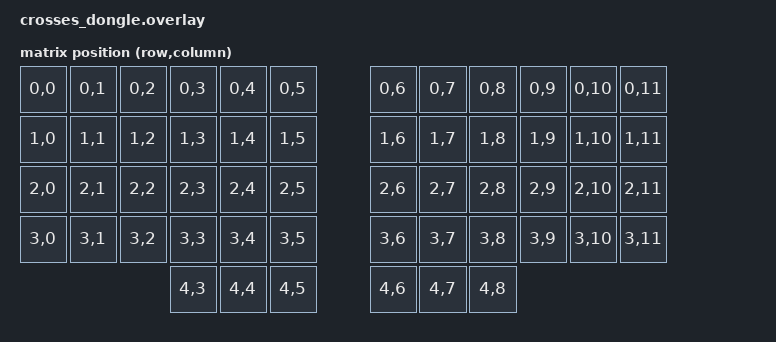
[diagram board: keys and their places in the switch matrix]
/*
 * Dongle-central variant for the Crosses 54 keymap.
 */

#include <dt-bindings/zmk/matrix_transform.h>
#include <input/processors.dtsi>
#include <input/processors/report_rate_limit.dtsi>
#include <behaviors/rate_limit.dtsi>

#include "fifty_four_layout.dtsi"

&gggw_crosses_54_layout {
    transform = <&default_transform>;
};

/ {
    chosen {
        zmk,kscan = &mock_kscan;
        zmk,physical-layout = &gggw_crosses_54_layout;
    };

    pwmleds {
        compatible = "pwm-leds";

        disp_bl: pwm_led_1 {
            pwms = <&pwm1 0 PWM_MSEC(1) PWM_POLARITY_NORMAL>;
        };
    };

    mipi_dbi {
        compatible = "zephyr,mipi-dbi-spi";
        spi-dev = <&spi3>;
        dc-gpios = <&xiao_d 7 GPIO_ACTIVE_HIGH>;
        reset-gpios = <&xiao_d 3 GPIO_ACTIVE_LOW>;
        write-only;
        #address-cells = <1>;
        #size-cells = <0>;

        st7789: st7789v@0 {
            compatible = "sitronix,st7789v";
            mipi-max-frequency = <30000000>;
            mipi-mode = "MIPI_DBI_MODE_SPI_4WIRE";
            reg = <0>;
            width = <240>;
            height = <280>;
            x-offset = <0>;
            y-offset = <20>;
            vcom = <0x19>;
            gctrl = <0x35>;
            vrhs = <0x12>;
            vdvs = <0x20>;
            mdac = <0x00>;
            gamma = <0x01>;
            colmod = <0x05>;
            lcm = <0x2c>;
            porch-param = [ 0c 0c 00 33 33 ];
            cmd2en-param = [ 5a 69 02 01 ];
            pwctrl1-param = [ a4 a1 ];
            pvgam-param = [ d0 04 0d 11 13 2b 3f 54 4c 18 0d 0b 1f 23 ];
            nvgam-param = [ d0 04 0c 11 13 2c 3f 44 51 2f 1f 1f 20 23 ];
            ram-param = [ 00 f0 ];
            rgb-param = [ cd 08 14 ];
        };
    };

    default_transform: keymap_transform0 {
        compatible = "zmk,matrix-transform";
        columns = <12>;
        rows = <5>;
        map = <
            RC(0,0) RC(0,1) RC(0,2) RC(0,3) RC(0,4) RC(0,5)       RC(0,6) RC(0,7) RC(0,8) RC(0,9) RC(0,10) RC(0,11)
            RC(1,0) RC(1,1) RC(1,2) RC(1,3) RC(1,4) RC(1,5)       RC(1,6) RC(1,7) RC(1,8) RC(1,9) RC(1,10) RC(1,11)
            RC(2,0) RC(2,1) RC(2,2) RC(2,3) RC(2,4) RC(2,5)       RC(2,6) RC(2,7) RC(2,8) RC(2,9) RC(2,10) RC(2,11)
            RC(3,0) RC(3,1) RC(3,2) RC(3,3) RC(3,4) RC(3,5)       RC(3,6) RC(3,7) RC(3,8) RC(3,9) RC(3,10) RC(3,11)
                                    RC(4,3) RC(4,4) RC(4,5)       RC(4,6) RC(4,7) RC(4,8)
        >;
    };

    mock_kscan: mock_kscan_0 {
        compatible = "zmk,kscan-mock";
        columns = <0>;
        rows = <0>;
        events = <0>;
    };

    behaviors {
        rrl {
            #binding-cells = <1>;
            values-ms = <8 6 4 2>;
        };
    };

    split_inputs {
        #address-cells = <1>;
        #size-cells = <0>;

        trackball_peripheral_split: trackball_peripheral_split@0 {
            compatible = "zmk,input-split";
            reg = <0>;
        };

        trackball_central_split: trackball_central_split@1 {
            compatible = "zmk,input-split";
            reg = <1>;
        };
    };

    trackball_peripheral_listener: trackball_peripheral_listener {
        compatible = "zmk,input-listener";
        status = "disabled";
        device = <&trackball_peripheral_split>;
    };

    trackball_central_listener: trackball_central_listener {
        compatible = "zmk,input-listener";
        status = "disabled";
        device = <&trackball_central_split>;
    };
};

&spi2 {
    status = "disabled";
};

&pinctrl {
    spi3_default: spi3_default {
        group1 {
            psels = <NRF_PSEL(SPIM_SCK, 1, 13)>,
                <NRF_PSEL(SPIM_MOSI, 1, 15)>,
                <NRF_PSEL(SPIM_MISO, 1, 10)>;
        };
    };

    spi3_sleep: spi3_sleep {
        group1 {
            psels = <NRF_PSEL(SPIM_SCK, 1, 13)>,
                <NRF_PSEL(SPIM_MOSI, 1, 15)>,
                <NRF_PSEL(SPIM_MISO, 1, 10)>;
            low-power-enable;
        };
    };

    pwm1_default: pwm1_default {
        group1 {
            psels = <NRF_PSEL(PWM_OUT0, 1, 11)>;
            nordic,invert;
        };
    };

    pwm1_sleep: pwm1_sleep {
        group1 {
            psels = <NRF_PSEL(PWM_OUT0, 1, 11)>;
            low-power-enable;
        };
    };
};

disp_spi: &spi3 {
    status = "okay";
    pinctrl-0 = <&spi3_default>;
    pinctrl-1 = <&spi3_sleep>;
    pinctrl-names = "default", "sleep";
    cs-gpios = <&xiao_d 9 GPIO_ACTIVE_LOW>;
};

&i2c1 {
    status = "okay";

    apds9960: apds9960@39 {
        compatible = "avago,apds9960";
        status = "okay";
        reg = <0x39>;
        int-gpios = <&xiao_d 2 (GPIO_ACTIVE_LOW | GPIO_PULL_UP)>;
    };
};

&pwm1 {
    status = "okay";
    pinctrl-0 = <&pwm1_default>;
    pinctrl-1 = <&pwm1_sleep>;
    pinctrl-names = "default", "sleep";
};
